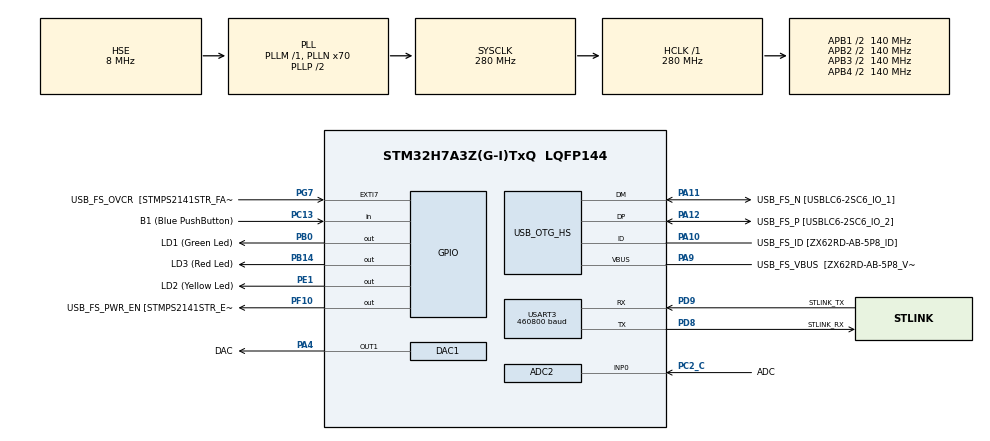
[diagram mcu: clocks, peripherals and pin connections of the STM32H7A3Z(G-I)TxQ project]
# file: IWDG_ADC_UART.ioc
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ADC2.NbrOfConversionFlag=1
ADC2.Resolution=ADC_RESOLUTION_16B
DAC1.DAC_Channel-DAC_OUT1=DAC_CHANNEL_1
Mcu.Family=STM32H7
Mcu.Name=STM32H7A3Z(G-I)TxQ
Mcu.Package=LQFP144
NVIC.PriorityGroup=NVIC_PRIORITYGROUP_4
PA10.GPIO_Label=USB_FS_ID [ZX62RD-AB-5P8_ID]
PA10.Mode=OTG/Dual-Role-Device-FS
PA10.Signal=USB_OTG_HS_ID
PA11.GPIO_Label=USB_FS_N [USBLC6-2SC6_IO_1]
PA11.Mode=OTG/Dual-Role-Device-FS
PA11.Signal=USB_OTG_HS_DM
PA12.GPIO_Label=USB_FS_P [USBLC6-2SC6_IO_2]
PA12.Mode=OTG/Dual-Role-Device-FS
PA12.Signal=USB_OTG_HS_DP
PA4.GPIO_Label=DAC
PA4.GPIO_Mode=GPIO_MODE_ANALOG
PA4.GPIO_PuPd=GPIO_NOPULL
PA4.Signal=COMP_DAC11_group
PA9.GPIO_Label=USB_FS_VBUS  [ZX62RD-AB-5P8_VBUS]
PA9.Mode=Activate_VBUS_FS
PA9.Signal=USB_OTG_HS_VBUS
PB0.GPIO_Label=LD1 (Green Led)
PB0.Signal=GPIO_Output
PB14.GPIO_Label=LD3 (Red Led)
PB14.Signal=GPIO_Output
PC13.GPIO_Label=B1 (Blue PushButton)
PC13.Signal=GPIO_Input
PC14-OSC32_IN.GPIO_Label=OSC32_IN
PC14-OSC32_IN.Mode=LSE-External-Oscillator
PC14-OSC32_IN.Signal=RCC_OSC32_IN
PC15-OSC32_OUT.GPIO_Label=OSC32_OUT
PC15-OSC32_OUT.Mode=LSE-External-Oscillator
PC15-OSC32_OUT.Signal=RCC_OSC32_OUT
PC2_C.GPIO_Label=ADC
PC2_C.GPIO_Mode=GPIO_MODE_ANALOG
PC2_C.GPIO_PuPd=GPIO_NOPULL
PC2_C.Mode=IN0-Single-Ended
PC2_C.Signal=ADC2_INP0
PD8.GPIO_Label=STLINK_RX
PD8.Mode=Asynchronous
PD8.Signal=USART3_TX
PD9.GPIO_Label=STLINK_TX
PD9.Mode=Asynchronous
PD9.Signal=USART3_RX
PE1.GPIO_Label=LD2 (Yellow Led)
PE1.Signal=GPIO_Output
PF10.GPIO_Label=USB_FS_PWR_EN [STMPS2141STR_EN]
PF10.Signal=GPIO_Output
PG7.GPIO_Label=USB_FS_OVCR  [STMPS2141STR_FAULT]
PG7.Signal=GPXTI7
PH0-OSC_IN.GPIO_Label=PH0-MCU
PH0-OSC_IN.Mode=HSE-External-Clock-Source
PH0-OSC_IN.Signal=RCC_OSC_IN
PH1-OSC_OUT.GPIO_Label=PH1-MCU
PH1-OSC_OUT.Signal=RCC_OSC_OUT
ProjectManager.HeapSize=0x200
ProjectManager.StackSize=0x400
ProjectManager.TargetToolchain=STM32CubeIDE
RCC.ADCFreq_Value=42666666.666666664
RCC.APB1Freq_Value=140000000
RCC.APB2Freq_Value=140000000
RCC.APB3Freq_Value=140000000
RCC.APB4Freq_Value=140000000
RCC.CDPPRE=RCC_APB3_DIV2
RCC.CDPPRE1=RCC_APB1_DIV2
RCC.CDPPRE2=RCC_APB2_DIV2
RCC.CortexFreq_Value=280000000
RCC.DIVM1=1
RCC.DIVM2=1
RCC.DIVM3=1
RCC.DIVN1=70
RCC.DIVN2=16
RCC.DIVN3=24
RCC.DIVP2=3
RCC.DIVQ1=20
RCC.DIVQ2=1
RCC.HCLKFreq_Value=280000000
RCC.HSE_VALUE=8000000
RCC.PLL2FRACN=0
RCC.PLL2_VCI_Range-AdvancedSettings=RCC_PLL2VCIRANGE_0
RCC.PLL3FRACN=0
RCC.PLL3_VCO_SEL-AdvancedSettings=RCC_PLL3VCOWIDE
RCC.PLLFRACN=0
RCC.PLLSourceVirtual=RCC_PLLSOURCE_HSE
RCC.SRDPPRE=RCC_APB4_DIV2
RCC.SYSCLKFreq_VALUE=280000000
RCC.SYSCLKSource=RCC_SYSCLKSOURCE_PLLCLK
RCC.SupplySource=PWR_DIRECT_SMPS_SUPPLY
RCC.USBCLockSelection=RCC_USBCLKSOURCE_HSI48
RCC.USBFreq_Value=48000000
SH.COMP_DAC11_group.0=DAC1_OUT1,DAC_OUT1
USART3.BaudRate=460800
USART3.VirtualMode-Asynchronous=VM_ASYNC
board=NUCLEO-H7A3ZI-Q

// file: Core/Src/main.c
/* USER CODE BEGIN Header */
/**
  ******************************************************************************
  * @file           : main.c
  * @brief          : Main program body
  ******************************************************************************
  * @attention
  *
  * Copyright (c) 2023 STMicroelectronics.
  * All rights reserved.
  *
  * This software is licensed under terms that can be found in the LICENSE file
  * in the root directory of this software component.
  * If no LICENSE file comes with this software, it is provided AS-IS.
  *
  ******************************************************************************
  */
/* USER CODE END Header */
#include "main.h"
#include "adc.h"
#include "dac.h"
#include "usart.h"
#include "usb_otg.h"
#include "gpio.h"

/* USER CODE BEGIN PTD */

extern ADC_HandleTypeDef hadc2;
extern UART_HandleTypeDef huart3;

/* USER CODE END PTD */

/* USER CODE BEGIN PD */

#define PUTCHAR_PROTOTYPE int __io_putchar(int ch)

int CyclesCounterInit( uint32_t clockSpeed );
#define CyclesCounterRead()		DWT->CYCCNT
#define CyclesCounterReset()    (DWT->CYCCNT = 0)

#define FRE_CLOCK	280000000
#define MUESTRAS	100
#define FS			FRE_CLOCK/MUESTRAS

/* USER CODE END PD */

void SystemClock_Config(void);

int main(void)
{
  /* USER CODE BEGIN 1 */

  uint16_t 	adc_value = 0;
  uint16_t adc[MUESTRAS] ;
  uint16_t sample = 0;

  uint8_t uni = 0;
  uint8_t dec = 0;
  uint8_t cen = 0;
  uint8_t um  = 0;
  uint8_t dm   = 0;

  uint8_t iu = 0;
  uint8_t id = 0;
  uint8_t ic = 0;
  uint8_t im  = 0;
  /* USER CODE END 1 */

  /* MCU Configuration--------------------------------------------------------*/

  /* Reset of all peripherals, Initializes the Flash interface and the Systick. */
  HAL_Init();

  /* Configure the system clock */
  SystemClock_Config();

  /* Initialize all configured peripherals */
  MX_GPIO_Init();
  MX_USB_OTG_HS_USB_Init();
  MX_ADC2_Init();
  MX_USART3_UART_Init();
  MX_DAC1_Init();
  /* USER CODE BEGIN 2 */

  CyclesCounterInit(FRE_CLOCK); // Enable the cycle counter

  printf("Inicio ADC DAC \r\n");

  /* USER CODE END 2 */

  /* Infinite loop */
  while (1)
  {

    /* USER CODE BEGIN 3 */

	CyclesCounterReset();

	HAL_ADC_Start(&hadc2);
	HAL_ADC_PollForConversion(&hadc2, 1000);
	adc_value = HAL_ADC_GetValue(&hadc2);
	HAL_ADC_Stop(&hadc2);

	adc[sample] = adc_value;
	sample++;

	while(CyclesCounterRead() <  FS )
	{}

	if(sample > MUESTRAS)
	{
		for(int i=0 ;i < MUESTRAS;i++)
		{
			HAL_GPIO_TogglePin(LD1_GPIO_Port, LD1_Pin);
			// printf("ADC = %d size = %d  \r\n",adc_value,sample);

			// 00000 - 65536

			iu = (i % 10) + 48;
			id = ((i /    10) % 10) + 48;
			ic = ((i /   100) % 10) + 48;
			im = ((i /  1000) % 10) + 48;

			uni = (adc_value % 10) + 48;
			dec = ((adc_value /    10) % 10) + 48;
			cen = ((adc_value /   100) % 10) + 48;
			um  = ((adc_value /  1000) % 10) + 48;
			dm  = ((adc_value / 10000) % 10) + 48;

			HAL_UART_Transmit(&huart3, (uint8_t *) "(" , 1, 0xFFFF);
			HAL_UART_Transmit(&huart3,              &im, 1, 0xFFFF);
			HAL_UART_Transmit(&huart3,              &ic, 1, 0xFFFF);
			HAL_UART_Transmit(&huart3,              &id, 1, 0xFFFF);
			HAL_UART_Transmit(&huart3,              &iu, 1, 0xFFFF);

			HAL_UART_Transmit(&huart3,              &dm, 1, 0xFFFF);
			HAL_UART_Transmit(&huart3,              &um, 1, 0xFFFF);
			HAL_UART_Transmit(&huart3,             &cen, 1, 0xFFFF);
			HAL_UART_Transmit(&huart3,             &dec, 1, 0xFFFF);
			HAL_UART_Transmit(&huart3,             &uni, 1, 0xFFFF);
			HAL_UART_Transmit(&huart3, (uint8_t *)  ")", 1, 0xFFFF);

			sample = 0;
		}

	}
  }
  /* USER CODE END 3 */
}

void SystemClock_Config(void)
{
  RCC_OscInitTypeDef RCC_OscInitStruct = {0};
  RCC_ClkInitTypeDef RCC_ClkInitStruct = {0};

  /*AXI clock gating */
  RCC->CKGAENR = 0xFFFFFFFF;

  /** Supply configuration update enable
  */
  HAL_PWREx_ConfigSupply(PWR_DIRECT_SMPS_SUPPLY);

  /** Configure the main internal regulator output voltage
  */
  __HAL_PWR_VOLTAGESCALING_CONFIG(PWR_REGULATOR_VOLTAGE_SCALE0);

  while(!__HAL_PWR_GET_FLAG(PWR_FLAG_VOSRDY)) {}

  /** Initializes the RCC Oscillators according to the specified parameters
  * in the RCC_OscInitTypeDef structure.
  */
  RCC_OscInitStruct.OscillatorType = RCC_OSCILLATORTYPE_HSI48|RCC_OSCILLATORTYPE_LSI
                              |RCC_OSCILLATORTYPE_HSE;
  RCC_OscInitStruct.HSEState = RCC_HSE_BYPASS;
  RCC_OscInitStruct.LSIState = RCC_LSI_ON;
  RCC_OscInitStruct.HSI48State = RCC_HSI48_ON;
  RCC_OscInitStruct.PLL.PLLState = RCC_PLL_ON;
  RCC_OscInitStruct.PLL.PLLSource = RCC_PLLSOURCE_HSE;
  RCC_OscInitStruct.PLL.PLLM = 1;
  RCC_OscInitStruct.PLL.PLLN = 70;
  RCC_OscInitStruct.PLL.PLLP = 2;
  RCC_OscInitStruct.PLL.PLLQ = 20;
  RCC_OscInitStruct.PLL.PLLR = 2;
  RCC_OscInitStruct.PLL.PLLRGE = RCC_PLL1VCIRANGE_3;
  RCC_OscInitStruct.PLL.PLLVCOSEL = RCC_PLL1VCOWIDE;
  RCC_OscInitStruct.PLL.PLLFRACN = 0;
  if (HAL_RCC_OscConfig(&RCC_OscInitStruct) != HAL_OK)
  {
    Error_Handler();
  }

  /** Initializes the CPU, AHB and APB buses clocks
  */
  RCC_ClkInitStruct.ClockType = RCC_CLOCKTYPE_HCLK|RCC_CLOCKTYPE_SYSCLK
                              |RCC_CLOCKTYPE_PCLK1|RCC_CLOCKTYPE_PCLK2
                              |RCC_CLOCKTYPE_D3PCLK1|RCC_CLOCKTYPE_D1PCLK1;
  RCC_ClkInitStruct.SYSCLKSource = RCC_SYSCLKSOURCE_PLLCLK;
  RCC_ClkInitStruct.SYSCLKDivider = RCC_SYSCLK_DIV1;
  RCC_ClkInitStruct.AHBCLKDivider = RCC_HCLK_DIV1;
  RCC_ClkInitStruct.APB3CLKDivider = RCC_APB3_DIV2;
  RCC_ClkInitStruct.APB1CLKDivider = RCC_APB1_DIV2;
  RCC_ClkInitStruct.APB2CLKDivider = RCC_APB2_DIV2;
  RCC_ClkInitStruct.APB4CLKDivider = RCC_APB4_DIV2;

  if (HAL_RCC_ClockConfig(&RCC_ClkInitStruct, FLASH_LATENCY_7) != HAL_OK)
  {
    Error_Handler();
  }
}

/* USER CODE BEGIN 4 */

PUTCHAR_PROTOTYPE
{
  /* Place your implementation of fputc here */
  /* e.g. write a character to the USART3 and Loop until the end of transmission */
  HAL_UART_Transmit(&huart3, (uint8_t *)&ch, 1, 0xFFFF);

  return ch;
}

int CyclesCounterInit( uint32_t clockSpeed )
{
   DWT->CTRL  |= 1; // *DWT_CTRL  |= 1;
   return 1;
}

/* USER CODE END 4 */

void Error_Handler(void)
{
  __disable_irq();
  while (1)
  {
  }
}
